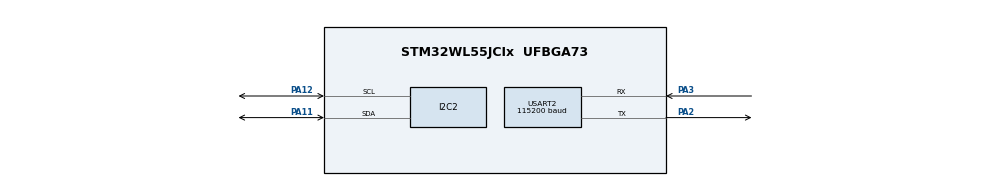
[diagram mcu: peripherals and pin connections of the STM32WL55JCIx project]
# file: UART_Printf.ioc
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I2C2.Timing=0x10805D88
Mcu.Family=STM32WL
Mcu.Name=STM32WL55JCIx
Mcu.Package=UFBGA73
NVIC.PriorityGroup=NVIC_PRIORITYGROUP_4
PA11.Mode=I2C
PA11.Signal=I2C2_SDA
PA12.Mode=I2C
PA12.Signal=I2C2_SCL
PA2.GPIO_PuPd=GPIO_PULLUP
PA2.Mode=Asynchronous
PA2.Signal=USART2_TX
PA3.GPIO_PuPd=GPIO_PULLUP
PA3.Mode=Asynchronous
PA3.Signal=USART2_RX
ProjectManager.HeapSize=0x200
ProjectManager.StackSize=0x400
ProjectManager.TargetToolchain=STM32CubeIDE
RCC.AHBFreq_Value=48000000
RCC.APB1Freq_Value=48000000
RCC.APB1TimFreq_Value=48000000
RCC.APB2Freq_Value=48000000
RCC.APB2TimFreq_Value=48000000
RCC.APB3Freq_Value=48000000
RCC.CortexFreq_Value=48000000
RCC.HCLKFreq_Value=48000000
RCC.HSE_VALUE=8000000
RCC.HSI_VALUE=16000000
RCC.LSE_VALUE=32768
RCC.MSIClockRange=RCC_MSIRANGE_8
RCC.PLLM=RCC_PLLM_DIV4
RCC.PLLN=24
RCC.SYSCLKFreq_VALUE=48000000
RCC.SYSCLKSource=RCC_SYSCLKSOURCE_PLLCLK
RCC.VCOOutputFreq_Value=96000000
STMicroelectronics.X-CUBE-MEMS1.13.0.0.BoardOoPartJjHumTempJjSHT40AD1B=I2C
USART2.AutoBaudRateEnableParam=UART_ADVFEATURE_AUTOBAUDRATE_DISABLE
USART2.BaudRate=115200
USART2.DMADisableonRxErrorParam=ADVFEATURE_DMA_ENABLEONRXERROR
USART2.DataInvertParam=ADVFEATURE_DATAINV_DISABLE
USART2.MSBFirstParam=ADVFEATURE_MSBFIRST_DISABLE
USART2.Mode=MODE_TX_RX
USART2.OneBitSampling=UART_ONE_BIT_SAMPLE_DISABLE
USART2.OverSampling=UART_OVERSAMPLING_16
USART2.OverrunDisableParam=ADVFEATURE_OVERRUN_ENABLE
USART2.Parity=PARITY_ODD
USART2.RxPinLevelInvertParam=ADVFEATURE_RXINV_DISABLE
USART2.StopBits=STOPBITS_1
USART2.SwapParam=ADVFEATURE_SWAP_DISABLE
USART2.TxPinLevelInvertParam=ADVFEATURE_TXINV_DISABLE
USART2.VirtualMode-Asynchronous=VM_ASYNC
USART2.WordLength=WORDLENGTH_8B
VP_STMicroelectronics.X-CUBE-MEMS1_VS_BoardOoPartJjHumTemp_5.9.0_13.0.0.Mode=BoardOoPartJjHumTemp
board=NUCLEO-WL55JC1

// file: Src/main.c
/* USER CODE BEGIN Header */
/**
  ******************************************************************************
  * @file    UART/UART_Printf/Src/main.c
  * @author  MCD Application Team
  * @brief   This example shows how to retarget the C library printf function
  *          to the UART.
  ******************************************************************************
  * @attention
  *
  * Copyright (c) 2020 STMicroelectronics.
  * All rights reserved.
  *
  * This software is licensed under terms that can be found in the LICENSE file
  * in the root directory of this software component.
  * If no LICENSE file comes with this software, it is provided AS-IS.
  *
  ******************************************************************************
  */
/* USER CODE END Header */
#include "main.h"

/* USER CODE BEGIN Includes */
#if defined(__ICCARM__)
#include <LowLevelIOInterface.h>
#endif /* __ICCARM__ */
#include "sht40ad1b.h"
/* USER CODE END Includes */

/* USER CODE BEGIN PD */
#define SHT40_PERIODO_MS  10000U //una lectura cada 10s
/* USER CODE END PD */

I2C_HandleTypeDef hi2c2;

UART_HandleTypeDef huart2;

/* USER CODE BEGIN PV */
static SHT40AD1B_Object_t sht40;
/* USER CODE END PV */

void SystemClock_Config(void);
static void MX_GPIO_Init(void);
static void MX_USART2_UART_Init(void);
static void MX_I2C2_Init(void);
/* USER CODE BEGIN PFP */
#if defined(__ICCARM__)
/* New definition from EWARM V9, compatible with EWARM8 */
int iar_fputc(int ch);
#define PUTCHAR_PROTOTYPE int iar_fputc(int ch)
#elif defined (__CC_ARM) || defined(__ARMCC_VERSION)
/* ARM Compiler 5/6 */
#define PUTCHAR_PROTOTYPE int fputc(int ch, FILE *f)
#elif defined(__GNUC__)
#define PUTCHAR_PROTOTYPE int __io_putchar(int ch)
#endif /* __ICCARM__ */

static int32_t SHT40_Setup(void);
static int32_t SHT40_IO_Init(void);
static int32_t SHT40_IO_DeInit(void);
static int32_t SHT40_IO_Write(uint16_t Addr, uint8_t *pData, uint16_t Length);
static int32_t SHT40_IO_Read(uint16_t Addr, uint8_t *pData, uint16_t Length);
static int32_t SHT40_IO_GetTick(void);
/* USER CODE END PFP */

int main(void)
{

  /* USER CODE BEGIN 1 */

  /* STM32WLxx HAL library initialization:
       - Configure the Flash prefetch
       - Systick timer is configured by default as source of time base, but user
         can eventually implement his proper time base source (a general purpose
         timer for example or other time source), keeping in mind that Time base
         duration should be kept 1ms since PPP_TIMEOUT_VALUEs are defined and
         handled in milliseconds basis.
       - Set NVIC Group Priority to 4
       - Low Level Initialization
     */
  /* USER CODE END 1 */

  /* MCU Configuration--------------------------------------------------------*/

  /* Reset of all peripherals, Initializes the Flash interface and the Systick. */
  HAL_Init();

  /* Configure the system clock */
  SystemClock_Config();

  /* USER CODE BEGIN SysInit */
  /* Initialize BSP Led for LED3 */
  BSP_LED_Init(LED3);
  /* USER CODE END SysInit */

  /* Initialize all configured peripherals */
  MX_GPIO_Init();
  MX_USART2_UART_Init();
  MX_I2C2_Init();
  /* USER CODE BEGIN 2 */

    printf("\r\nProject-2: UART + I2C2, SHT40 read every %lu s\r\n",
           (unsigned long)(SHT40_PERIODO_MS / 1000U));

    if (SHT40_Setup() != SHT40AD1B_OK)
    {
      /* Do not stop here: the loop retries the reading every 10 seconds */
      printf("SHT40 not found\r\n");
    }
    /* USER CODE END 2 */

  /* Infinite loop */
  while (1)
  {

    /* USER CODE BEGIN 3 */
	    float temperatura;
	    float umidita;

	    /* Cada llamada manda comandos 0xFD (high-precision measurement),
	       espera 10 ms y lee el resultado de 6 bytes, comprueba ambos CRCs. */
	    if ((SHT40AD1B_TEMP_GetTemperature(&sht40, &temperatura) == SHT40AD1B_OK) &&
	        (SHT40AD1B_HUM_GetHumidity(&sht40, &umidita) == SHT40AD1B_OK))
	    {
	      printf("[%6lu s] T = %.2f C   RH = %.2f %%\r\n",
	             (unsigned long)(HAL_GetTick() / 1000U), temperatura, umidita);
	    }
	    else
	    {
	      printf("[%6lu s] SHT40 read error (NACK or bad CRC)\r\n",
	             (unsigned long)(HAL_GetTick() / 1000U));
	    }

	    HAL_Delay(SHT40_PERIODO_MS);
  }
  /* USER CODE END 3 */
}

void SystemClock_Config(void)
{
  RCC_OscInitTypeDef RCC_OscInitStruct = {0};
  RCC_ClkInitTypeDef RCC_ClkInitStruct = {0};

  /** Configure the main internal regulator output voltage
  */
  __HAL_PWR_VOLTAGESCALING_CONFIG(PWR_REGULATOR_VOLTAGE_SCALE1);

  /** Initializes the CPU, AHB and APB buses clocks
  */
  RCC_OscInitStruct.OscillatorType = RCC_OSCILLATORTYPE_MSI;
  RCC_OscInitStruct.MSIState = RCC_MSI_ON;
  RCC_OscInitStruct.MSICalibrationValue = RCC_MSICALIBRATION_DEFAULT;
  RCC_OscInitStruct.MSIClockRange = RCC_MSIRANGE_8;
  RCC_OscInitStruct.PLL.PLLState = RCC_PLL_ON;
  RCC_OscInitStruct.PLL.PLLSource = RCC_PLLSOURCE_MSI;
  RCC_OscInitStruct.PLL.PLLM = RCC_PLLM_DIV4;
  RCC_OscInitStruct.PLL.PLLN = 24;
  RCC_OscInitStruct.PLL.PLLP = RCC_PLLP_DIV2;
  RCC_OscInitStruct.PLL.PLLR = RCC_PLLR_DIV2;
  RCC_OscInitStruct.PLL.PLLQ = RCC_PLLQ_DIV2;
  if (HAL_RCC_OscConfig(&RCC_OscInitStruct) != HAL_OK)
  {
    Error_Handler();
  }

  /** Configure the SYSCLKSource, HCLK, PCLK1 and PCLK2 clocks dividers
  */
  RCC_ClkInitStruct.ClockType = RCC_CLOCKTYPE_HCLK3|RCC_CLOCKTYPE_HCLK
                              |RCC_CLOCKTYPE_SYSCLK|RCC_CLOCKTYPE_PCLK1
                              |RCC_CLOCKTYPE_PCLK2;
  RCC_ClkInitStruct.SYSCLKSource = RCC_SYSCLKSOURCE_PLLCLK;
  RCC_ClkInitStruct.AHBCLKDivider = RCC_SYSCLK_DIV1;
  RCC_ClkInitStruct.APB1CLKDivider = RCC_HCLK_DIV1;
  RCC_ClkInitStruct.APB2CLKDivider = RCC_HCLK_DIV1;
  RCC_ClkInitStruct.AHBCLK3Divider = RCC_SYSCLK_DIV1;

  if (HAL_RCC_ClockConfig(&RCC_ClkInitStruct, FLASH_LATENCY_2) != HAL_OK)
  {
    Error_Handler();
  }
}

static void MX_I2C2_Init(void)
{

  hi2c2.Instance = I2C2;
  hi2c2.Init.Timing = 0x10805D88;
  hi2c2.Init.OwnAddress1 = 0;
  hi2c2.Init.AddressingMode = I2C_ADDRESSINGMODE_7BIT;
  hi2c2.Init.DualAddressMode = I2C_DUALADDRESS_DISABLE;
  hi2c2.Init.OwnAddress2 = 0;
  hi2c2.Init.OwnAddress2Masks = I2C_OA2_NOMASK;
  hi2c2.Init.GeneralCallMode = I2C_GENERALCALL_DISABLE;
  hi2c2.Init.NoStretchMode = I2C_NOSTRETCH_DISABLE;
  if (HAL_I2C_Init(&hi2c2) != HAL_OK)
  {
    Error_Handler();
  }

  /** Configure Analogue filter
  */
  if (HAL_I2CEx_ConfigAnalogFilter(&hi2c2, I2C_ANALOGFILTER_ENABLE) != HAL_OK)
  {
    Error_Handler();
  }

  /** Configure Digital filter
  */
  if (HAL_I2CEx_ConfigDigitalFilter(&hi2c2, 0) != HAL_OK)
  {
    Error_Handler();
  }

}

static void MX_USART2_UART_Init(void)
{

  huart2.Instance = USART2;
  huart2.Init.BaudRate = 115200;
  huart2.Init.WordLength = UART_WORDLENGTH_8B;
  huart2.Init.StopBits = UART_STOPBITS_1;
  huart2.Init.Parity = UART_PARITY_ODD;
  huart2.Init.Mode = UART_MODE_TX_RX;
  huart2.Init.HwFlowCtl = UART_HWCONTROL_NONE;
  huart2.Init.OverSampling = UART_OVERSAMPLING_16;
  huart2.Init.OneBitSampling = UART_ONE_BIT_SAMPLE_DISABLE;
  huart2.Init.ClockPrescaler = UART_PRESCALER_DIV1;
  huart2.AdvancedInit.AdvFeatureInit = UART_ADVFEATURE_NO_INIT;
  if (HAL_UART_Init(&huart2) != HAL_OK)
  {
    Error_Handler();
  }
  if (HAL_UARTEx_SetTxFifoThreshold(&huart2, UART_TXFIFO_THRESHOLD_1_8) != HAL_OK)
  {
    Error_Handler();
  }
  if (HAL_UARTEx_SetRxFifoThreshold(&huart2, UART_RXFIFO_THRESHOLD_1_8) != HAL_OK)
  {
    Error_Handler();
  }
  if (HAL_UARTEx_DisableFifoMode(&huart2) != HAL_OK)
  {
    Error_Handler();
  }

}

static void MX_GPIO_Init(void)
{

  /* GPIO Ports Clock Enable */
  __HAL_RCC_GPIOA_CLK_ENABLE();

}

/* USER CODE BEGIN 4 */
#if defined(__ICCARM__)
/**
  * @brief  Retargets the C library __write function to the IAR function iar_fputc.
  * @param  file: file descriptor.
  * @param  ptr: pointer to the buffer where the data is stored.
  * @param  len: length of the data to write in bytes.
  * @retval length of the written data in bytes.
  */
size_t __write(int file, unsigned char const *ptr, size_t len)
{
  size_t idx;
  unsigned char const *pdata = ptr;

  for (idx = 0; idx < len; idx++)
  {
    iar_fputc((int)*pdata);
    pdata++;
  }
  return len;
}
#endif /* __ICCARM__ */

/**
  * @brief  Retargets the C library printf function to the USART.
  * @param  None
  * @retval None
  */
PUTCHAR_PROTOTYPE
{
  /* Place your implementation of fputc here */
  /* e.g. write a character to the USART2 and Loop until the end of transmission */
  HAL_UART_Transmit(&huart2, (uint8_t *)&ch, 1, 0xFFFF);

  return ch;
}

/**
  * @brief  Connects the SHT40AD1B driver (X-CUBE-MEMS1) to I2C2 and initializes it.
  * @retval SHT40AD1B_OK if the sensor answers, SHT40AD1B_ERROR otherwise
  */
static int32_t SHT40_Setup(void)
{
  SHT40AD1B_IO_t io = {0};

  io.Init    = SHT40_IO_Init;
  io.DeInit  = SHT40_IO_DeInit;
  io.BusType = SHT40AD1B_I2C_BUS;
  /* 0x89 = (0x44 << 1) | 1. In 7-bit mode the I2C peripheral only uses
     address bits 7..1; the read/write bit is added by the HAL. */
  io.Address = SHT40AD1B_I2C_ADDRESS;
  io.Write   = SHT40_IO_Write;
  io.Read    = SHT40_IO_Read;
  io.GetTick = SHT40_IO_GetTick;
  io.Delay   = HAL_Delay;

  if (SHT40AD1B_RegisterBusIO(&sht40, &io) != SHT40AD1B_OK)
  {
    return SHT40AD1B_ERROR;
  }
  if (SHT40AD1B_Init(&sht40) != SHT40AD1B_OK)
  {
    return SHT40AD1B_ERROR;
  }
  (void)SHT40AD1B_TEMP_Enable(&sht40);
  (void)SHT40AD1B_HUM_Enable(&sht40);

  /* The driver has no ID register: check that the sensor
     acknowledges its address. */
  if (HAL_I2C_IsDeviceReady(&hi2c2, SHT40AD1B_I2C_ADDRESS, 3, 100) != HAL_OK)
  {
    return SHT40AD1B_ERROR;
  }
  return SHT40AD1B_OK;
}

/* I2C2 is already initialized by MX_I2C2_Init(): nothing else to do here. */
static int32_t SHT40_IO_Init(void)
{
  return SHT40AD1B_OK;
}

static int32_t SHT40_IO_DeInit(void)
{
  return SHT40AD1B_OK;
}

/* The SHT40 has no registers: the driver only passes the command byte to write... */
static int32_t SHT40_IO_Write(uint16_t Addr, uint8_t *pData, uint16_t Length)
{
  return (HAL_I2C_Master_Transmit(&hi2c2, Addr, pData, Length, 100) == HAL_OK)
         ? SHT40AD1B_OK : SHT40AD1B_ERROR;
}

/* ...and the 6 bytes to read: T MSB, T LSB, CRC, RH MSB, RH LSB, CRC. */
static int32_t SHT40_IO_Read(uint16_t Addr, uint8_t *pData, uint16_t Length)
{
  return (HAL_I2C_Master_Receive(&hi2c2, Addr, pData, Length, 100) == HAL_OK)
         ? SHT40AD1B_OK : SHT40AD1B_ERROR;
}

static int32_t SHT40_IO_GetTick(void)
{
  return (int32_t)HAL_GetTick();
}

/* USER CODE END 4 */

void Error_Handler(void)
{
  /* USER CODE BEGIN Error_Handler_Debug */
  /* User can add his own implementation to report the HAL error return state */
  /* Turn LED3 on */
  BSP_LED_On(LED3);
  while (1);
  /* USER CODE END Error_Handler_Debug */
}
